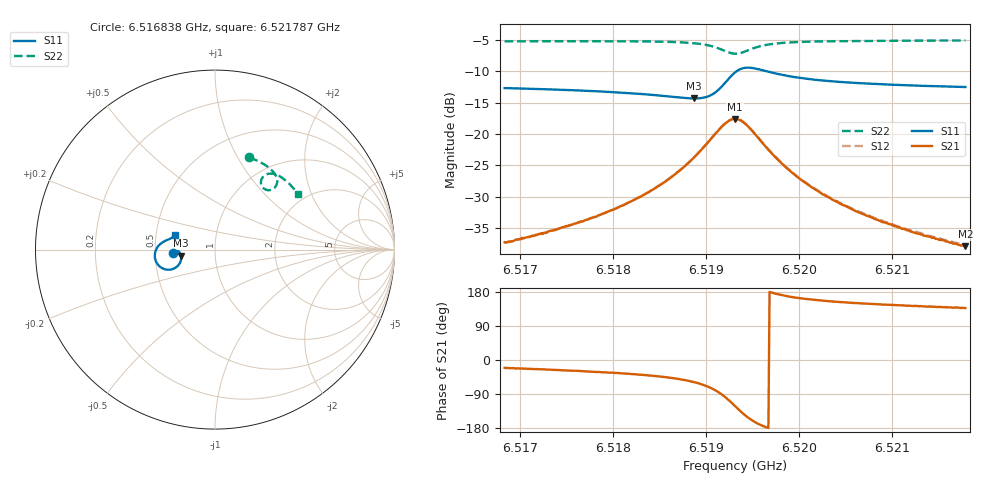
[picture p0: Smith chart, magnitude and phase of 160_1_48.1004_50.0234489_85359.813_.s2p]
#  HZ  S  RI  R  50.00
! Rohde & Schwarz Vector Network Analyzer
! Rohde-Schwarz,ZNB20-2Port,1311601062101988,3.16
! Created: UTC 12/23/2023, 3:50:39 AM
! freq[Hz]  re:S11  im:S11  re:S21  im:S21  re:S12  im:S12  re:S22  im:S22
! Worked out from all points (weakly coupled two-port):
!   401 points, 6.516838 GHz to 6.521787 GHz, reference 50 ohm
!   highest |S21| = -17.60 dB at 6.519313 GHz (marker M1); lowest = -37.9 dB at 6.521787 GHz (marker M2)
!   lowest |S11| = -14.3 dB at 6.518867 GHz (marker M3), VSWR 1.48, Z = 34 - j2.33 ohm
!   |S11| at or under -10 dB: start of sweep to 6.51933 GHz; 6.519651 GHz to end of sweep
!   |S22| runs from -7.2 to -5.1 dB; largest |S21 - S12| = 0.004
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6.516838e9  -0.2314 -0.0203  0.0129 -0.00485  0.0129 -0.00445  0.1918 0.5132
6.5172711e9  -0.227 -0.0136  0.0148 -0.00689  0.015 -0.00642  0.224 0.5005
6.517667e9  -0.2215 -0.00873  0.0175 -0.00984  0.0178 -0.00932  0.2533 0.4865
6.5180877e9  -0.2138 -0.00612  0.0218 -0.0153  0.0223 -0.0147  0.2848 0.4677
6.5182857e9  -0.2089 -0.00667  0.0245 -0.0196  0.0252 -0.0188  0.2998 0.4569
6.5184961e9  -0.2025 -0.00996  0.0282 -0.0265  0.0291 -0.0258  0.3162 0.4427
6.5186817e9  -0.1957 -0.0171  0.0319 -0.0368  0.0331 -0.0359  0.3306 0.4262
6.5188673e9  -0.1891 -0.033  0.0341 -0.0546  0.036 -0.0539  0.3431 0.4026
6.5189786e9  -0.1883 -0.0507  0.0318 -0.0721  0.0343 -0.0714  0.3467 0.3828
6.5190776e9  -0.1951 -0.0739  0.022 -0.0932  0.025 -0.0931  0.3426 0.3602
6.5192137e9  -0.2355 -0.1082  -0.0195 -0.1206  -0.0161 -0.1222  0.3121 0.3325
6.5193127e9  -0.2906 -0.1052  -0.0687 -0.1124  -0.066 -0.1153  0.2744 0.3388
6.5193622e9  -0.3146 -0.0875  -0.0883 -0.0944  -0.0862 -0.0978  0.261 0.3537
6.5194241e9  -0.332 -0.0576  -0.1002 -0.0666  -0.0991 -0.0701  0.2559 0.3767
6.5195354e9  -0.3316 -0.00918  -0.0949 -0.0253  -0.0948 -0.0284  0.2697 0.4077
6.5196468e9  -0.3162 0.0194  -0.0784 -0.00355  -0.0792 -0.00601  0.2923 0.4211
6.5198695e9  -0.2878 0.043  -0.0524 0.0106  -0.0532 0.00927  0.3287 0.4216
6.5201417e9  -0.2669 0.0533  -0.035 0.0133  -0.0359 0.0124  0.3593 0.4093
6.5204635e9  -0.2524 0.0596  -0.0243 0.0125  -0.025 0.0122  0.3858 0.3915
6.5209708e9  -0.2383 0.0672  -0.0159 0.0107  -0.0164 0.0106  0.4184 0.3618
6.5213544e9  -0.2307 0.0727  -0.0121 0.00965  -0.0126 0.00952  0.4393 0.3386
6.5217874e9  -0.2234 0.0786  -0.00937 0.00871  -0.00983 0.00848  0.4602 0.3119
